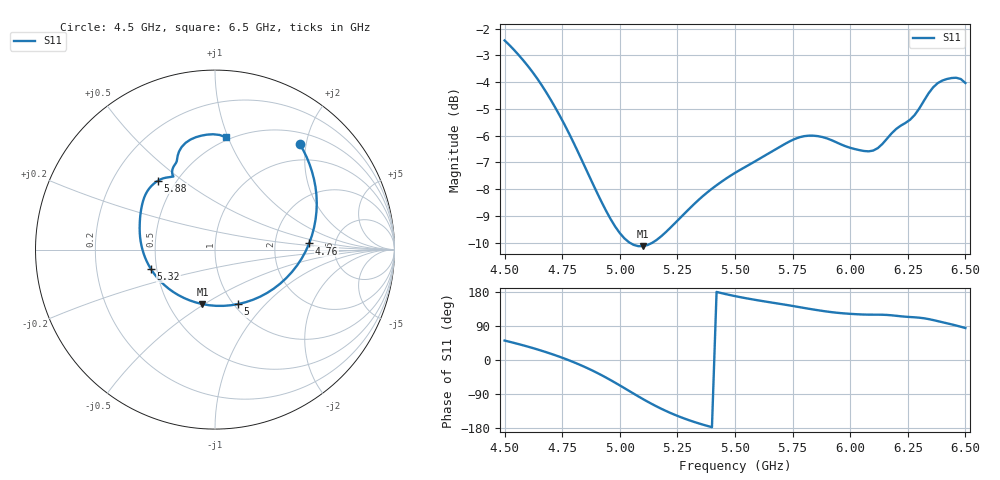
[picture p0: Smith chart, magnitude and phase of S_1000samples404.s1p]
! TOUCHSTONE file generated by CST MICROWAVE STUDIO
! Date and time: Fri Oct 28 01:29:52 2022
! Project name: L.cst
! Parameters = {Di=1.27; Epsilon_r=1.56; InnerDiameter=1.27; Length=2; Lf=10; Lg=60; OuterConductorThickness=0.2921; OuterDiameter=3.6; Wf=3; Wp=41.2; de=1.5; df=6.8; g=0.8; gx=2.98649; gy=1.30221; h=2.34; hf=1.524; px=13.6087; py=11.0579; w=9.7; wx=10.6222; wy=9.75565}
! Header version: 2018
! Port assignment regex: !\s*Touchstone port\s*([0-9]+)\s*=\s*(CST MWS port|CST DS port)\s*([0-9]+|Zmin|Zmax)\s*\(\"(.*)\"\)(\s*mode\s*([0-9]+))?.*
! Touchstone port assignment:
! Touchstone port 1 = CST MWS port 1 ("")
# GHz S DB R 50
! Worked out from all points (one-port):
!   101 points, 4.5 GHz to 6.5 GHz, reference 50 ohm
!   lowest |S11| = -10.1 dB at 5.1 GHz (marker M1), VSWR 1.91, Z = 36.5 - j24.6 ohm
!   |S11| at or under -10 dB: 5.044 GHz to 5.141 GHz (96.83 MHz wide, 1.9 % of centre)
!   S11 on the Smith chart (normalised r, x): 4.5 GHz: 0.69, +1.88; 4.76 GHz: 3.18, +0.30; 5 GHz: 1.05, -0.71; 5.32 GHz: 0.47, -0.12; 5.88 GHz: 0.40, +0.41; 6.5 GHz: 0.48, +0.98
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4.5  -2.45 51.3
4.58  -3.18 38.8
4.64  -3.85 28.3
4.7  -4.66 16.7
4.76  -5.59 3.7
4.82  -6.64 -10.9
4.88  -7.74 -27.5
4.94  -8.80 -46.3
5  -9.64 -67.0
5.04  -9.98 -81.5
5.1  -10.13 -102.9
5.18  -9.75 -128.6
5.26  -9.09 -149.8
5.32  -8.58 -162.9
5.4  -7.98 -177.2
5.5  -7.39 168.6
5.64  -6.69 153.5
5.76  -6.12 141.6
5.88  -6.05 129.5
6  -6.45 121.8
6.06  -6.57 119.9
6.12  -6.46 119.6
6.18  -5.91 117.9
6.26  -5.40 113.4
6.32  -4.70 110.1
6.36  -4.20 105.4
6.44  -3.85 94.0
6.5  -4.03 84.3
